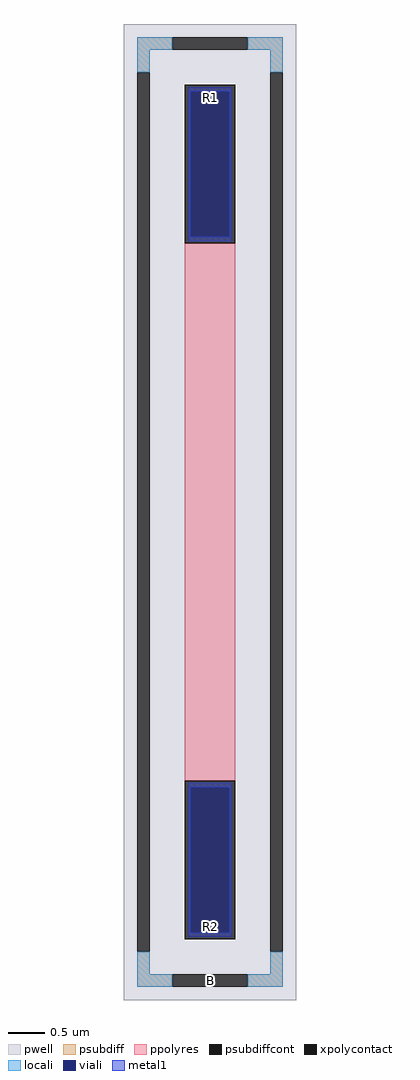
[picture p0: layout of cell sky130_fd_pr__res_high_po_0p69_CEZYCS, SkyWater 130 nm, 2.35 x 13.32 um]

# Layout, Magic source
magic
tech sky130A
magscale 1 2
<< pwell >>
rect -235 -1332 235 1332
<< psubdiff >>
rect -199 1262 -103 1296
rect 103 1262 199 1296
rect -199 1200 -165 1262
rect 165 1200 199 1262
rect -199 -1262 -165 -1200
rect 165 -1262 199 -1200
rect -199 -1296 -103 -1262
rect 103 -1296 199 -1262
<< psubdiffcont >>
rect -103 1262 103 1296
rect -199 -1200 -165 1200
rect 165 -1200 199 1200
rect -103 -1296 103 -1262
<< xpolycontact >>
rect -69 734 69 1166
rect -69 -1166 69 -734
<< ppolyres >>
rect -69 -734 69 734
<< locali >>
rect -199 1262 -103 1296
rect 103 1262 199 1296
rect -199 1200 -165 1262
rect 165 1200 199 1262
rect -199 -1262 -165 -1200
rect 165 -1262 199 -1200
rect -199 -1296 -103 -1262
rect 103 -1296 199 -1262
<< viali >>
rect -53 751 53 1148
rect -53 -1148 53 -751
<< metal1 >>
rect -59 1148 59 1160
rect -59 751 -53 1148
rect 53 751 59 1148
rect -59 739 59 751
rect -59 -751 59 -739
rect -59 -1148 -53 -751
rect 53 -1148 59 -751
rect -59 -1160 59 -1148
<< labels >>
rlabel psubdiffcont 0 -1279 0 -1279 0 B
port 1 nsew
rlabel xpolycontact 0 1131 0 1131 0 R1
port 2 nsew
rlabel xpolycontact 0 -1131 0 -1131 0 R2
port 3 nsew
<< properties >>
string FIXED_BBOX -182 -1279 182 1279
string gencell sky130_fd_pr__res_high_po_0p69
string library sky130
string parameters w 0.690 l 7.5 m 1 nx 1 wmin 0.690 lmin 0.50 class resistor rho 319.8 val 4.04k dummy 0 dw 0.0 term 194.82 sterm 0.0 caplen 0 guard 1 glc 1 grc 1 gtc 1 gbc 1 compatible {sky130_fd_pr__res_high_po_0p35  sky130_fd_pr__res_high_po_0p69 sky130_fd_pr__res_high_po_1p41  sky130_fd_pr__res_high_po_2p85 sky130_fd_pr__res_high_po_5p73} snake 0 full_metal 1 wmax 0.690 n_guard 0 hv_guard 0 vias 1 viagb 0 viagt 0 viagl 0 viagr 0 doports 1
<< end >>
